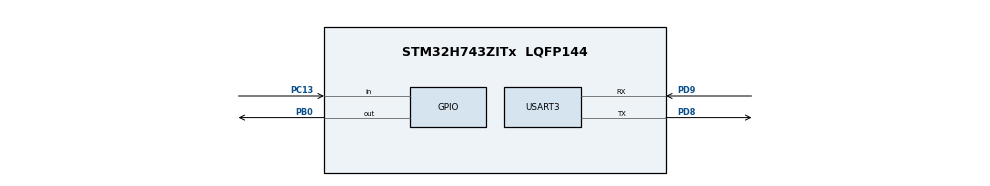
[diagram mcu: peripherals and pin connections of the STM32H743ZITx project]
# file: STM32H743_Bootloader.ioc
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Mcu.Family=STM32H7
Mcu.Name=STM32H743ZITx
Mcu.Package=LQFP144
NVIC.PriorityGroup=NVIC_PRIORITYGROUP_4
NVIC.USART3_IRQn=true\:0\:0\:false\:false\:true\:true\:true\:true
PB0.Signal=GPIO_Output
PC13.Signal=GPIO_Input
PD8.Mode=Asynchronous
PD8.Signal=USART3_TX
PD9.Mode=Asynchronous
PD9.Signal=USART3_RX
ProjectManager.HeapSize=0x200
ProjectManager.StackSize=0x400
ProjectManager.TargetToolchain=STM32CubeIDE
RCC.ADCFreq_Value=64500000
RCC.APB1Freq_Value=32000000
RCC.APB2Freq_Value=32000000
RCC.APB3Freq_Value=32000000
RCC.APB4Freq_Value=32000000
RCC.CortexFreq_Value=32000000
RCC.HCLKFreq_Value=32000000
RCC.HSIDiv=RCC_PLLSAIDIVR_2
RCC.SYSCLKFreq_VALUE=32000000
RCC.USART234578CLockSelection=RCC_USART234578CLKSOURCE_HSI
RCC.USBFreq_Value=64500000
USART3.VirtualMode-Asynchronous=VM_ASYNC
board=custom

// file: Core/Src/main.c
/* USER CODE BEGIN Header */
/**
  ******************************************************************************
  * @file           : main.c
  * @brief          : Main program body
  ******************************************************************************
  * @attention
  *
  * Copyright (c) 2025 STMicroelectronics.
  * All rights reserved.
  *
  * This software is licensed under terms that can be found in the LICENSE file
  * in the root directory of this software component.
  * If no LICENSE file comes with this software, it is provided AS-IS.
  *
  ******************************************************************************
  */
/* USER CODE END Header */
#include "main.h"

/* USER CODE BEGIN Includes */
#include <stdio.h>

/* USER CODE END Includes */

/* USER CODE BEGIN PD */
#define MAJOR 0						// Major version number
#define MINOR 8						// Minor version number

#define OTA_REQUEST_TIMEOUT 3000	// 3000ms timeout
/* USER CODE END PD */

UART_HandleTypeDef huart3;

/* USER CODE BEGIN PV */
const uint8_t BL_VERSION[2] = { MAJOR, MINOR };
/* USER CODE END PV */

void SystemClock_Config(void);
static void MX_GPIO_Init(void);
static void MX_USART3_UART_Init(void);
/* USER CODE BEGIN PFP */

static void jump_to_app(void);

/* USER CODE END PFP */

int main(void)
{

  /* MCU Configuration--------------------------------------------------------*/

  /* Reset of all peripherals, Initializes the Flash interface and the Systick. */
  HAL_Init();

  /* Configure the system clock */
  SystemClock_Config();

  /* Initialize all configured peripherals */
  MX_GPIO_Init();
  MX_USART3_UART_Init();
  /* USER CODE BEGIN 2 */

  printf("Starting Bootloader (v%d.%d)\n", BL_VERSION[0], BL_VERSION[1]);
  HAL_GPIO_WritePin(GPIOB, GPIO_PIN_0, GPIO_PIN_SET);

  GPIO_PinState OTA_Pin_State;
  uint32_t timeout_tick = HAL_GetTick() + OTA_REQUEST_TIMEOUT;

  // OTA Button must be pressed within 3s to enter serial download mode
  while(1)
  {
	  // Read OTA Pin state and timer
	  OTA_Pin_State = HAL_GPIO_ReadPin(GPIOC, GPIO_PIN_13);
	  uint32_t current_tick = HAL_GetTick();

	  if ((OTA_Pin_State != GPIO_PIN_RESET) || (current_tick > timeout_tick))
	  {
		  break;
	  }
  }

  // Enter serial download
  if (OTA_Pin_State != GPIO_PIN_RESET)
  {
	  printf("OTA XMODEM Download Mode - Ready for Transfer\n");
	  xmodem_receive_ota();
  }

  jump_to_app();

  /* USER CODE END 2 */

  /* Infinite loop */
  /* USER CODE BEGIN WHILE */
  printf("You shouldn't be here :)\n");
  while (1)
  {
	/* USER CODE END WHILE */

  }
}

void SystemClock_Config(void)
{
  RCC_OscInitTypeDef RCC_OscInitStruct = {0};
  RCC_ClkInitTypeDef RCC_ClkInitStruct = {0};

  /** Supply configuration update enable
  */
  HAL_PWREx_ConfigSupply(PWR_LDO_SUPPLY);

  /** Configure the main internal regulator output voltage
  */
  __HAL_PWR_VOLTAGESCALING_CONFIG(PWR_REGULATOR_VOLTAGE_SCALE3);

  while(!__HAL_PWR_GET_FLAG(PWR_FLAG_VOSRDY)) {}

  /** Initializes the RCC Oscillators according to the specified parameters
  * in the RCC_OscInitTypeDef structure.
  */
  RCC_OscInitStruct.OscillatorType = RCC_OSCILLATORTYPE_HSI;
  RCC_OscInitStruct.HSIState = RCC_HSI_DIV2;
  RCC_OscInitStruct.HSICalibrationValue = RCC_HSICALIBRATION_DEFAULT;
  RCC_OscInitStruct.PLL.PLLState = RCC_PLL_NONE;
  if (HAL_RCC_OscConfig(&RCC_OscInitStruct) != HAL_OK)
  {
    Error_Handler();
  }

  /** Initializes the CPU, AHB and APB buses clocks
  */
  RCC_ClkInitStruct.ClockType = RCC_CLOCKTYPE_HCLK|RCC_CLOCKTYPE_SYSCLK
                              |RCC_CLOCKTYPE_PCLK1|RCC_CLOCKTYPE_PCLK2
                              |RCC_CLOCKTYPE_D3PCLK1|RCC_CLOCKTYPE_D1PCLK1;
  RCC_ClkInitStruct.SYSCLKSource = RCC_SYSCLKSOURCE_HSI;
  RCC_ClkInitStruct.SYSCLKDivider = RCC_SYSCLK_DIV1;
  RCC_ClkInitStruct.AHBCLKDivider = RCC_HCLK_DIV1;
  RCC_ClkInitStruct.APB3CLKDivider = RCC_APB3_DIV1;
  RCC_ClkInitStruct.APB1CLKDivider = RCC_APB1_DIV1;
  RCC_ClkInitStruct.APB2CLKDivider = RCC_APB2_DIV1;
  RCC_ClkInitStruct.APB4CLKDivider = RCC_APB4_DIV1;

  if (HAL_RCC_ClockConfig(&RCC_ClkInitStruct, FLASH_LATENCY_0) != HAL_OK)
  {
    Error_Handler();
  }
}

static void MX_USART3_UART_Init(void)
{

  huart3.Instance = USART3;
  huart3.Init.BaudRate = 115200;
  huart3.Init.WordLength = UART_WORDLENGTH_8B;
  huart3.Init.StopBits = UART_STOPBITS_1;
  huart3.Init.Parity = UART_PARITY_NONE;
  huart3.Init.Mode = UART_MODE_TX_RX;
  huart3.Init.HwFlowCtl = UART_HWCONTROL_NONE;
  huart3.Init.OverSampling = UART_OVERSAMPLING_16;
  huart3.Init.OneBitSampling = UART_ONE_BIT_SAMPLE_DISABLE;
  huart3.Init.ClockPrescaler = UART_PRESCALER_DIV1;
  huart3.AdvancedInit.AdvFeatureInit = UART_ADVFEATURE_NO_INIT;
  if (HAL_UART_Init(&huart3) != HAL_OK)
  {
    Error_Handler();
  }
  if (HAL_UARTEx_SetTxFifoThreshold(&huart3, UART_TXFIFO_THRESHOLD_1_8) != HAL_OK)
  {
    Error_Handler();
  }
  if (HAL_UARTEx_SetRxFifoThreshold(&huart3, UART_RXFIFO_THRESHOLD_1_8) != HAL_OK)
  {
    Error_Handler();
  }
  if (HAL_UARTEx_DisableFifoMode(&huart3) != HAL_OK)
  {
    Error_Handler();
  }

}

static void MX_GPIO_Init(void)
{
  GPIO_InitTypeDef GPIO_InitStruct = {0};

  /* GPIO Ports Clock Enable */
  __HAL_RCC_GPIOC_CLK_ENABLE();
  __HAL_RCC_GPIOB_CLK_ENABLE();
  __HAL_RCC_GPIOD_CLK_ENABLE();

  /*Configure GPIO pin Output Level */
  HAL_GPIO_WritePin(GPIOB, GPIO_PIN_0, GPIO_PIN_RESET);

  /*Configure GPIO pin : PC13 */
  GPIO_InitStruct.Pin = GPIO_PIN_13;
  GPIO_InitStruct.Mode = GPIO_MODE_INPUT;
  GPIO_InitStruct.Pull = GPIO_NOPULL;
  HAL_GPIO_Init(GPIOC, &GPIO_InitStruct);

  /*Configure GPIO pin : PB0 */
  GPIO_InitStruct.Pin = GPIO_PIN_0;
  GPIO_InitStruct.Mode = GPIO_MODE_OUTPUT_PP;
  GPIO_InitStruct.Pull = GPIO_NOPULL;
  GPIO_InitStruct.Speed = GPIO_SPEED_FREQ_LOW;
  HAL_GPIO_Init(GPIOB, &GPIO_InitStruct);

}

/* USER CODE BEGIN 4 */

/*
 * @brief 	Print the characters to UART (printf).
 * 			With GCC, small printf (options LD Linker->Libraries->Small printf
 * 			set to 'Yes') calls __io_putchar()
 *
 * @retval int
 */
#ifdef __GNUC__
int __io_putchar(int ch)
#else
int fputc(int ch, FILE *F)
#endif /* __GNUC__ */
{
	/* Place your implementation of __io_putchar/fputc here */
	HAL_UART_Transmit(&huart3, (uint8_t *)&ch, 1, HAL_MAX_DELAY);
	return ch;
}

static void jump_to_app(void)
{
	printf("Reading Application Vector Table\n");
	void (*app_reset_handler) (void) = (void*) (*(volatile uint32_t *) (APP_START_ADDRESS + 4));

	HAL_GPIO_WritePin(GPIOB, GPIO_PIN_0, GPIO_PIN_RESET);
	printf("Jumping to application at %p\n", app_reset_handler);

	// De-initialize HAL and set the stack pointer based on the app vector table
	// HAL_DeInit();
	// __set_MSP(*(volatile uint32_t *) APP_START_ADDRESS );
	app_reset_handler();
}

/* USER CODE END 4 */

void Error_Handler(void)
{
  __disable_irq();
  while (1)
  {
  }
}
